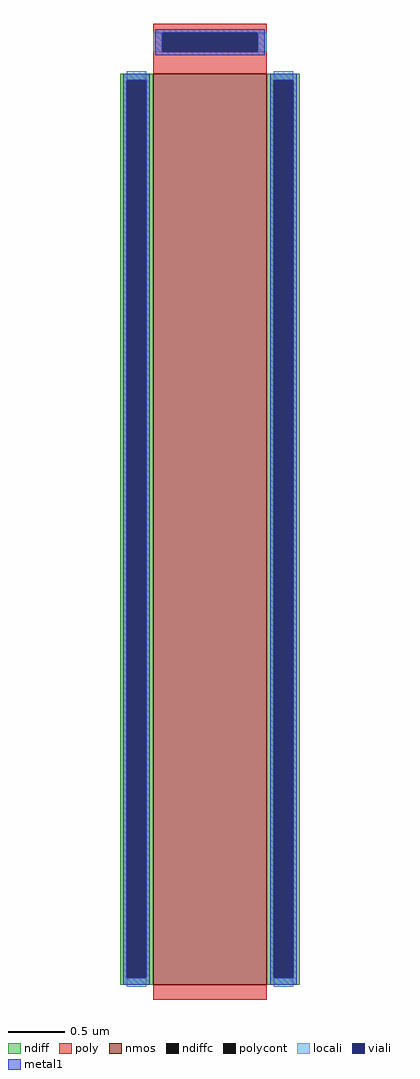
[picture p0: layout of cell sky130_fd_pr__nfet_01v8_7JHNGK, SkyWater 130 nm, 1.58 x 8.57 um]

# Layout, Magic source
magic
tech sky130B
magscale 1 2
<< nmos >>
rect -100 -831 100 769
<< ndiff >>
rect -158 757 -100 769
rect -158 -819 -146 757
rect -112 -819 -100 757
rect -158 -831 -100 -819
rect 100 757 158 769
rect 100 -819 112 757
rect 146 -819 158 757
rect 100 -831 158 -819
<< ndiffc >>
rect -146 -819 -112 757
rect 112 -819 146 757
<< poly >>
rect -100 841 100 857
rect -100 807 -84 841
rect 84 807 100 841
rect -100 769 100 807
rect -100 -857 100 -831
<< polycont >>
rect -84 807 84 841
<< locali >>
rect -100 807 -84 841
rect 84 807 100 841
rect -146 757 -112 773
rect -146 -835 -112 -819
rect 112 757 146 773
rect 112 -835 146 -819
<< viali >>
rect -84 807 84 841
rect -146 -819 -112 757
rect 112 -819 146 757
<< metal1 >>
rect -96 841 96 847
rect -96 807 -84 841
rect 84 807 96 841
rect -96 801 96 807
rect -152 757 -106 769
rect -152 -819 -146 757
rect -112 -819 -106 757
rect -152 -831 -106 -819
rect 106 757 152 769
rect 106 -819 112 757
rect 146 -819 152 757
rect 106 -831 152 -819
<< properties >>
string gencell sky130_fd_pr__nfet_01v8
string library sky130
string parameters w 8 l 1 m 1 nf 1 diffcov 100 polycov 100 guard 0 glc 0 grc 0 gtc 0 gbc 0 tbcov 100 rlcov 100 topc 1 botc 0 poverlap 0 doverlap 0 lmin 0.15 wmin 0.42 compatible {sky130_fd_pr__nfet_01v8 sky130_fd_pr__nfet_01v8_lvt  sky130_fd_bs_flash__special_sonosfet_star  sky130_fd_pr__nfet_g5v0d10v5 sky130_fd_pr__nfet_05v0_nvt  sky130_fd_pr__nfet_03v3_nvt} full_metal 0 viasrc 100 viadrn 100 viagate 100 viagb 0 viagr 0 viagl 0 viagt 0
<< end >>
